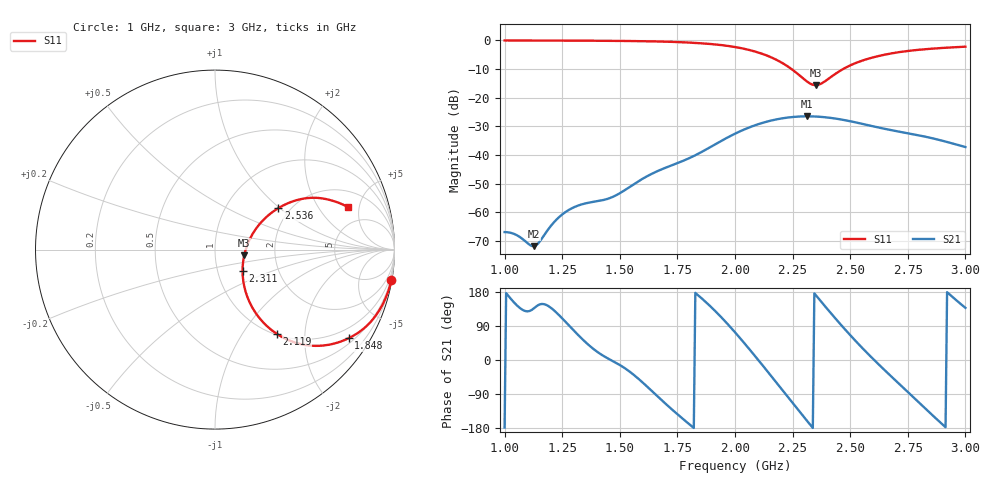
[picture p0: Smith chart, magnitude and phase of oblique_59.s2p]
! TOUCHSTONE file generated by CST MICROWAVE STUDIO
! Date and time: Tue Mar 18 00:01:24 2025
! Project name: oblique.cst
! Parameters = {Tilt=30; Fracture=1; B=12.5; D=160; F=5; Feed=2.85625; L=100; M=30; R=0.384908; S=1; Theta=180; length=57.125; wave=114.25}
! Header version: 2024
! Port assignment regex: !\s*Touchstone port\s*([0-9]+)\s*=\s*(CST MWS port|CST DES external port|CST DES block port)\s*(.+)\s* \(\"(.*)\"\)(\s*mode\s*([0-9]+))?.*
! Touchstone port assignment:
! Touchstone port 1 = CST MWS port 1 ("")
! Touchstone port 2 = CST MWS port 2 ("")
# GHz S DB R 50
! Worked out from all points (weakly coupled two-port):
!   303 points, 1 GHz to 3 GHz, reference 50 ohm
!   highest |S21| = -26.50 dB at 2.311 GHz (marker M1); lowest = -71.8 dB at 1.126 GHz (marker M2)
!   lowest |S11| = -15.6 dB at 2.351 GHz (marker M3), VSWR 1.40, Z = 69.2 - j4.57 ohm
!   |S11| at or under -10 dB: 2.245 GHz to 2.469 GHz (223.7 MHz wide, 9.49 % of centre)
!   S12 and S22 are empty: the file has one direction only
!   S11 on the Smith chart (normalised r, x): 1 GHz: 0, -12; 1.848 GHz: 0.65, -3.19; 2.119 GHz: 1.02, -1.44; 2.311 GHz: 1.32, -0.32; 2.536 GHz: 1.74, +0.98; 3 GHz: 3.20, +3.82
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1  -0.02 -9.9  -66.89 -178.2  -200.00 0.0  -200.00 0.0
1.04636  -0.03 -10.5  -67.71 148.4  -200.00 0.0  -200.00 0.0
1.12583  -0.04 -11.6  -71.81 135.7  -200.00 0.0  -200.00 0.0
1.1457  -0.04 -12.0  -70.84 144.8  -200.00 0.0  -200.00 0.0
1.19868  -0.05 -12.8  -64.95 138.7  -200.00 0.0  -200.00 0.0
1.23841  -0.06 -13.5  -61.53 117.1  -200.00 0.0  -200.00 0.0
1.28477  -0.08 -14.3  -58.89 87.7  -200.00 0.0  -200.00 0.0
1.33775  -0.10 -15.4  -57.15 54.8  -200.00 0.0  -200.00 0.0
1.4702  -0.16 -18.4  -54.59 -3.1  -200.00 0.0  -200.00 0.0
1.66887  -0.38 -24.8  -45.43 -98.7  -200.00 0.0  -200.00 0.0
1.84768  -0.98 -33.6  -39.25 166.8  -200.00 0.0  -200.00 0.0
2  -2.31 -44.4  -32.56 73.1  -200.00 0.0  -200.00 0.0
2.11921  -4.71 -53.8  -28.78 -13.7  -200.00 0.0  -200.00 0.0
2.21192  -8.20 -57.3  -27.11 -84.1  -200.00 0.0  -200.00 0.0
2.31126  -14.28 -37.4  -26.50 -159.5  -200.00 0.0  -200.00 0.0
2.33775  -15.46 -20.8  -26.53 -179.3  -200.00 0.0  -200.00 0.0
2.35099  -15.61 -11.2  -26.57 170.9  -200.00 0.0  -200.00 0.0
2.37748  -14.93 6.7  -26.72 151.4  -200.00 0.0  -200.00 0.0
2.44371  -11.24 28.8  -27.37 104.1  -200.00 0.0  -200.00 0.0
2.53642  -7.51 33.2  -28.84 41.9  -200.00 0.0  -200.00 0.0
2.66887  -4.68 29.4  -31.17 -38.0  -200.00 0.0  -200.00 0.0
3  -2.19 17.8  -37.21 137.6  -200.00 0.0  -200.00 0.0
